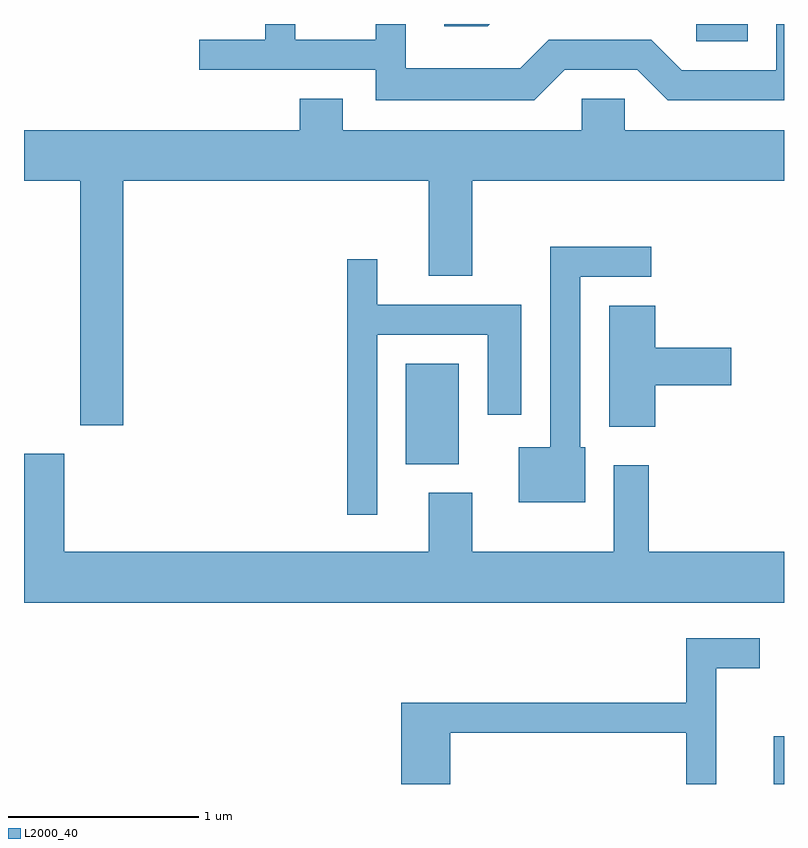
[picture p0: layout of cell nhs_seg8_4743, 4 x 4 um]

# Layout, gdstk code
import gdstk
lib = gdstk.Library(unit=1e-6, precision=1e-09)
def R(c, l, rs):  # rectangles x0, y0, x1, y1
    for r in rs: c.add(gdstk.rectangle(r[:2], r[2:], *l))
def P(c, l, *ps):  # polygons
    for p in ps: c.add(gdstk.Polygon(p, *l))
L2000_40 = (2000, 40)

nhs_seg8_4743 = lib.new_cell('nhs_seg8_4743')
R(nhs_seg8_4743, L2000_40, [(331.556,1844.342,331.611,1844.593), (329.621,1846.026,329.899,1846.554), (331.148,1848.251,331.419,1848.342)])
P(nhs_seg8_4743, L2000_40, [(330.457,1848.101),(330.839,1848.101),(330.999,1847.941),(331.611,1847.941),(331.611,1848.342),(331.571,1848.342),(331.571,1848.099),(331.072,1848.099),(330.912,1848.259),(330.374,1848.259),(330.224,1848.109),(329.619,1848.109),(329.619,1848.342),(329.461,1848.342),(329.461,1848.259),(329.039,1848.259),(329.039,1848.342),(328.881,1848.342),(328.881,1848.259),(328.533,1848.259),(328.533,1848.101),(329.461,1848.101),(329.461,1847.941),(330.297,1847.941)],
  [(330.063,1848.342),(329.823,1848.342),(329.823,1848.331),(330.052,1848.331)],
  [(328.134,1847.516),(329.741,1847.516),(329.741,1847.016),(329.969,1847.016),(329.969,1847.516),(331.611,1847.516),(331.611,1847.784),(330.774,1847.784),(330.774,1847.949),(330.546,1847.949),(330.546,1847.784),(329.289,1847.784),(329.289,1847.949),(329.061,1847.949),(329.061,1847.784),(327.611,1847.784),(327.611,1847.516),(327.906,1847.516),(327.906,1846.231),(328.134,1846.231)],
  [(330.564,1846.114),(330.539,1846.114),(330.539,1847.011),(330.913,1847.011),(330.913,1847.169),(330.381,1847.169),(330.381,1846.114),(330.216,1846.114),(330.216,1845.826),(330.564,1845.826)],
  [(329.469,1846.706),(330.051,1846.706),(330.051,1846.286),(330.229,1846.286),(330.229,1846.864),(329.469,1846.864),(329.469,1847.103),(329.311,1847.103),(329.311,1845.758),(329.469,1845.758)],
  [(330.934,1846.441),(331.334,1846.441),(331.334,1846.639),(330.934,1846.639),(330.934,1846.859),(330.691,1846.859),(330.691,1846.221),(330.934,1846.221)],
  [(331.611,1845.564),(330.899,1845.564),(330.899,1846.019),(330.716,1846.019),(330.716,1845.564),(329.969,1845.564),(329.969,1845.874),(329.741,1845.874),(329.741,1845.564),(327.824,1845.564),(327.824,1846.079),(327.611,1846.079),(327.611,1845.296),(331.611,1845.296)],
  [(329.854,1844.611),(331.096,1844.611),(331.096,1844.342),(331.254,1844.342),(331.254,1844.951),(331.483,1844.951),(331.483,1845.109),(331.096,1845.109),(331.096,1844.769),(329.596,1844.769),(329.596,1844.342),(329.854,1844.342)])

lib.write_gds('nhs_seg8_4743.gds')
